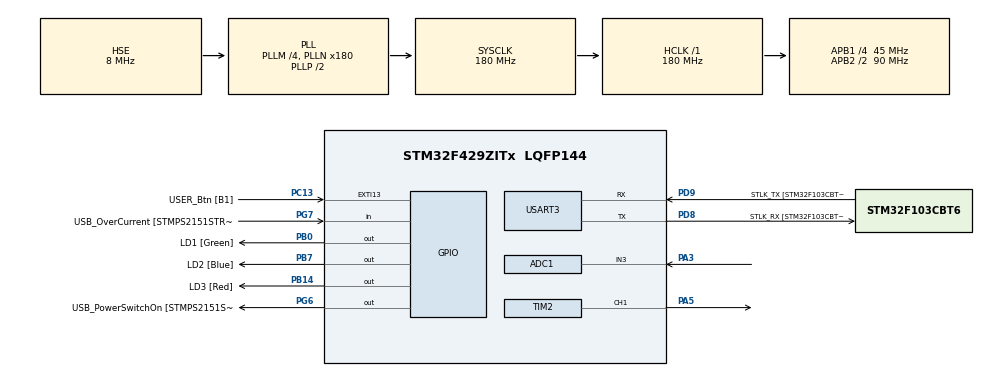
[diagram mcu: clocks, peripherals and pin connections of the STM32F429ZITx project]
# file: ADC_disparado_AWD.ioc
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ADC1.Channel-1\#ChannelRegularConversion=ADC_CHANNEL_3
ADC1.ClockPrescaler=ADC_CLOCK_SYNC_PCLK_DIV4
ADC1.ContinuousConvMode=DISABLE
ADC1.DMAContinuousRequests=ENABLE
ADC1.EOCSelection=ADC_EOC_SEQ_CONV
ADC1.EnableAnalogWatchDog=true
ADC1.ExternalTrigConv=ADC_EXTERNALTRIGCONV_T3_TRGO
ADC1.HighThreshold=4095
ADC1.ITMode=ENABLE
ADC1.InjNumberOfConversion=0
ADC1.LowThreshold=1330
ADC1.NbrOfConversion=1
ADC1.NbrOfConversionFlag=1
ADC1.Rank-1\#ChannelRegularConversion=1
ADC1.SamplingTime-1\#ChannelRegularConversion=ADC_SAMPLETIME_3CYCLES
ADC1.WatchdogChannel=ADC_CHANNEL_3
ADC1.master=1
Dma.ADC1.0.Direction=DMA_PERIPH_TO_MEMORY
Dma.ADC1.0.FIFOMode=DMA_FIFOMODE_DISABLE
Dma.ADC1.0.Instance=DMA2_Stream0
Dma.ADC1.0.MemDataAlignment=DMA_MDATAALIGN_HALFWORD
Dma.ADC1.0.MemInc=DMA_MINC_ENABLE
Dma.ADC1.0.Mode=DMA_NORMAL
Dma.ADC1.0.PeriphDataAlignment=DMA_PDATAALIGN_HALFWORD
Dma.ADC1.0.PeriphInc=DMA_PINC_DISABLE
Dma.ADC1.0.Priority=DMA_PRIORITY_VERY_HIGH
Dma.Request0=ADC1
Mcu.Family=STM32F4
Mcu.Name=STM32F429ZITx
Mcu.Package=LQFP144
NVIC.ADC_IRQn=true\:0\:0\:false\:false\:true\:true\:true\:true
NVIC.DMA2_Stream0_IRQn=true\:0\:0\:false\:false\:true\:false\:true\:true
NVIC.PriorityGroup=NVIC_PRIORITYGROUP_4
PA1.GPIO_Label=RMII_REF_CLK [LAN8742A-CZ-TR_REFCLK0]
PA1.Signal=ETH_REF_CLK
PA10.GPIO_Label=USB_ID
PA10.Signal=USB_OTG_FS_ID
PA11.GPIO_Label=USB_DM
PA11.Signal=USB_OTG_FS_DM
PA12.GPIO_Label=USB_DP
PA12.Signal=USB_OTG_FS_DP
PA13.GPIO_Label=TMS
PA13.Mode=Serial_Wire
PA13.Signal=SYS_JTMS-SWDIO
PA14.GPIO_Label=TCK
PA14.Mode=Serial_Wire
PA14.Signal=SYS_JTCK-SWCLK
PA2.GPIO_Label=RMII_MDIO [LAN8742A-CZ-TR_MDIO]
PA2.Signal=ETH_MDIO
PA3.Signal=ADCx_IN3
PA5.Signal=S_TIM2_CH1_ETR
PA7.GPIO_Label=RMII_CRS_DV [LAN8742A-CZ-TR_CRS_DV]
PA7.Signal=ETH_CRS_DV
PA8.GPIO_Label=USB_SOF [TP1]
PA8.Signal=USB_OTG_FS_SOF
PA9.GPIO_Label=USB_VBUS
PA9.Signal=USB_OTG_FS_VBUS
PB0.GPIO_Label=LD1 [Green]
PB0.Signal=GPIO_Output
PB13.GPIO_Label=RMII_TXD1 [LAN8742A-CZ-TR_TXD1]
PB13.Signal=ETH_TXD1
PB14.GPIO_Label=LD3 [Red]
PB14.Signal=GPIO_Output
PB7.GPIO_Label=LD2 [Blue]
PB7.Signal=GPIO_Output
PC1.GPIO_Label=RMII_MDC [LAN8742A-CZ-TR_MDC]
PC1.Signal=ETH_MDC
PC13.GPIO_Label=USER_Btn [B1]
PC13.Signal=GPXTI13
PC14/OSC32_IN.Mode=LSE-External-Oscillator
PC14/OSC32_IN.Signal=RCC_OSC32_IN
PC15/OSC32_OUT.Mode=LSE-External-Oscillator
PC15/OSC32_OUT.Signal=RCC_OSC32_OUT
PC4.GPIO_Label=RMII_RXD0 [LAN8742A-CZ-TR_RXD0]
PC4.Signal=ETH_RXD0
PC5.GPIO_Label=RMII_RXD1 [LAN8742A-CZ-TR_RXD1]
PC5.Signal=ETH_RXD1
PD8.GPIO_Label=STLK_RX [STM32F103CBT6_PA3]
PD8.Mode=Asynchronous
PD8.Signal=USART3_TX
PD9.GPIO_Label=STLK_TX [STM32F103CBT6_PA2]
PD9.Mode=Asynchronous
PD9.Signal=USART3_RX
PG11.GPIO_Label=RMII_TX_EN [LAN8742A-CZ-TR_TXEN]
PG11.Signal=ETH_TX_EN
PG13.GPIO_Label=RMII_TXD0 [LAN8742A-CZ-TR_TXD0]
PG13.Signal=ETH_TXD0
PG6.GPIO_Label=USB_PowerSwitchOn [STMPS2151STR_EN]
PG6.Signal=GPIO_Output
PG7.GPIO_Label=USB_OverCurrent [STMPS2151STR_FAULT]
PG7.Signal=GPIO_Input
PH0/OSC_IN.GPIO_Label=MCO [STM32F103CBT6_PA8]
PH0/OSC_IN.Mode=HSE-External-Oscillator
PH0/OSC_IN.Signal=RCC_OSC_IN
PH1/OSC_OUT.Mode=HSE-External-Oscillator
PH1/OSC_OUT.Signal=RCC_OSC_OUT
ProjectManager.HeapSize=0x200
ProjectManager.StackSize=0x400
ProjectManager.TargetToolchain=STM32CubeIDE
RCC.48MHZClocksFreq_Value=51428571.428571425
RCC.AHBFreq_Value=180000000
RCC.APB1CLKDivider=RCC_HCLK_DIV4
RCC.APB1Freq_Value=45000000
RCC.APB1TimFreq_Value=90000000
RCC.APB2CLKDivider=RCC_HCLK_DIV2
RCC.APB2Freq_Value=90000000
RCC.APB2TimCLKDivider=2
RCC.APB2TimFreq_Value=180000000
RCC.CortexFreq_Value=180000000
RCC.HCLKFreq_Value=180000000
RCC.HSE_VALUE=8000000
RCC.HSI_VALUE=16000000
RCC.PLLM=4
RCC.PLLMUL=RCC_PLL_MUL9
RCC.PLLN=180
RCC.PLLQ=7
RCC.PLLSourceVirtual=RCC_PLLSOURCE_HSE
RCC.PRESCALERUSB=RCC_USBCLKSOURCE_PLL_DIV1_5
RCC.SYSCLKFreq_VALUE=180000000
RCC.SYSCLKSource=RCC_SYSCLKSOURCE_PLLCLK
RCC.SYSCLKSourceVirtual=RCC_SYSCLKSOURCE_PLLCLK
RCC.USBFreq_Value=48000000
RCC.VCOOutputFreq_Value=360000000
SH.ADCx_IN3.0=ADC1_IN3,IN3
SH.S_TIM2_CH1_ETR.0=TIM2_CH1,PWM Generation1 CH1
TIM2.AutoReloadPreload=TIM_AUTORELOAD_PRELOAD_ENABLE
TIM2.Channel-PWM\ Generation1\ CH1=TIM_CHANNEL_1
TIM2.Period=65535
TIM2.Prescaler=1
TIM3.AutoReloadPreload=TIM_AUTORELOAD_PRELOAD_ENABLE
TIM3.Period=149
TIM3.Prescaler=29
TIM3.TIM_MasterOutputTrigger=TIM_TRGO_UPDATE
USART3.VirtualMode=VM_ASYNC
VP_TIM2_VS_ClockSourceINT.Mode=Internal
VP_TIM3_VS_ClockSourceINT.Mode=Internal
board=NUCLEO-F429ZI

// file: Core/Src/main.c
/* USER CODE BEGIN Header */
/**
  ******************************************************************************
  * @file           : main.c
  * @brief          : Ejemplo de ADC con Analog Watch Dog (AWD)
  *                   (No veo diferencia entre continuo y único)
  ******************************************************************************
  *
  * El ejemplo se desarrolló en base a:
  * https://deepbluembedded.com/stm32-adc-read-example-dma-interrupt-polling/
  *
  ******************************************************************************
  */
/* USER CODE END Header */
#include "main.h"
#include "adc.h"
#include "dma.h"
#include "tim.h"
#include "usart.h"
#include "gpio.h"

/* USER CODE BEGIN Includes */
#include "uOSAL.h"

/* USER CODE END Includes */

/* USER CODE BEGIN PM */
#define DELTA      100
#define MUESTRAS   100
#define COLUMNAS   20
#define NIVEL      1600
#define N_CAPTURAS 16

/* USER CODE END PM */

/* USER CODE BEGIN PV */
uint16_t ADC_CONVERTIDO [MUESTRAS]   = {0}; //0;
uint32_t ADC_SUMA [2*MUESTRAS] = {0};
uint16_t ADC_CANTIDAD   [2*MUESTRAS] = {0};
uint32_t PROMEDIO = 0;
volatile uint32_t Num_Conversiones = 0;
bool     Escribimos = false;
bool     Nueva_Lectura = false;

/* USER CODE END PV */

void SystemClock_Config(void);
/* USER CODE BEGIN PFP */
void EscribirDatos(uint32_t);
void PromediarConDisparo(void);
/* USER CODE END PFP */

int main(void)
{

  /* MCU Configuration--------------------------------------------------------*/

  /* Reset of all peripherals, Initializes the Flash interface and the Systick. */
  HAL_Init();

  /* Configure the system clock */
  SystemClock_Config();

  /* Initialize all configured peripherals */
  MX_GPIO_Init();
  MX_DMA_Init();
  MX_USART3_UART_Init();
  MX_ADC1_Init();
  MX_TIM2_Init();
  MX_TIM3_Init();
  /* USER CODE BEGIN 2 */
  //-----------------------------------------------------------------------------------------------
  uint32_t Tiempo_ms = 0;
  uartInit();

  GPIO_InitTypeDef  GPIO_InitStruct;
  GPIO_InitStruct.Pin = GPIO_PIN_0;
  GPIO_InitStruct.Mode = GPIO_MODE_OUTPUT_PP;
  GPIO_InitStruct.Pull = GPIO_NOPULL;
  GPIO_InitStruct.Speed = GPIO_SPEED_FAST;
  HAL_GPIO_Init(GPIOA, &GPIO_InitStruct);

  GPIO_InitStruct.Pin = GPIO_PIN_0 | GPIO_PIN_7 | GPIO_PIN_14; // ;
  HAL_GPIO_Init(GPIOB, &GPIO_InitStruct);

  uEscribirTexto ("\n\r-----------------------------------------------------------------------------");
  uEscribirTexto ("\n\rADC disparado por trigger con DMA (marzo 2024)");
  uEscribirTexto ("\n\r-----------------------------------------------------------------------------");

  HAL_TIM_PWM_Start(&htim2, TIM_CHANNEL_1);
  HAL_TIM_Base_Start(&htim3); // Start Timer3 (Trigger Source For ADC1)
  //HAL_ADC_Start_IT(&hadc1);   // Start ADC Conversion

  Tiempo_ms = uOSALmiliseg ();
  HAL_ADC_Start_DMA(&hadc1, (uint32_t *) ADC_CONVERTIDO, MUESTRAS);  // Inicia la conversión continua del ADC

  //-----------------------------------------------------------------------------------------------
  /* USER CODE END 2 */

  /* Infinite loop */
  while (1)
  {

    /* USER CODE BEGIN 3 */
	//---------------------------------------------------------------------------------------------
	//TIM2->CCR1 = (AD_RES<<4); // Update The PWM Duty Cycle With Latest ADC Conversion Result

	if (Nueva_Lectura) {
		Nueva_Lectura = false;
		PROMEDIO = 0;
		for (int j=0; j<MUESTRAS; j++) {
					PROMEDIO += ADC_CONVERTIDO[j];
		}
		PROMEDIO = PROMEDIO / MUESTRAS;
		TIM2->CCR1 = ( (PROMEDIO & 0xFFFF) <<4 );
		PromediarConDisparo();

		//HAL_GPIO_TogglePin(GPIOB, GPIO_PIN_0 | GPIO_PIN_7 | GPIO_PIN_14);
		HAL_GPIO_TogglePin(GPIOB, GPIO_PIN_14); // led rojo que titila
		HAL_GPIO_WritePin(GPIOB, GPIO_PIN_0, GPIO_PIN_RESET); // led rojo que titila

		//HAL_Delay(10);
		if ( Num_Conversiones <  N_CAPTURAS ) HAL_ADC_Start_DMA(&hadc1, (uint32_t *) ADC_CONVERTIDO, MUESTRAS);
		if ( Num_Conversiones == N_CAPTURAS ) {
			Tiempo_ms = uOSALmiliseg () - Tiempo_ms;
			EscribirDatos(Num_Conversiones);
		    uEscribirTextoEnteroSS ("Tardamos ", Tiempo_ms);
		}

	}
  }
  //-----------------------------------------------------------------------------------------------
  /* USER CODE END 3 */
}

void SystemClock_Config(void)
{
  RCC_OscInitTypeDef RCC_OscInitStruct = {0};
  RCC_ClkInitTypeDef RCC_ClkInitStruct = {0};

  /** Configure the main internal regulator output voltage
  */
  __HAL_RCC_PWR_CLK_ENABLE();
  __HAL_PWR_VOLTAGESCALING_CONFIG(PWR_REGULATOR_VOLTAGE_SCALE1);

  /** Initializes the RCC Oscillators according to the specified parameters
  * in the RCC_OscInitTypeDef structure.
  */
  RCC_OscInitStruct.OscillatorType = RCC_OSCILLATORTYPE_HSE;
  RCC_OscInitStruct.HSEState = RCC_HSE_ON;
  RCC_OscInitStruct.PLL.PLLState = RCC_PLL_ON;
  RCC_OscInitStruct.PLL.PLLSource = RCC_PLLSOURCE_HSE;
  RCC_OscInitStruct.PLL.PLLM = 4;
  RCC_OscInitStruct.PLL.PLLN = 180;
  RCC_OscInitStruct.PLL.PLLP = RCC_PLLP_DIV2;
  RCC_OscInitStruct.PLL.PLLQ = 7;
  if (HAL_RCC_OscConfig(&RCC_OscInitStruct) != HAL_OK)
  {
    Error_Handler();
  }

  /** Activate the Over-Drive mode
  */
  if (HAL_PWREx_EnableOverDrive() != HAL_OK)
  {
    Error_Handler();
  }

  /** Initializes the CPU, AHB and APB buses clocks
  */
  RCC_ClkInitStruct.ClockType = RCC_CLOCKTYPE_HCLK|RCC_CLOCKTYPE_SYSCLK
                              |RCC_CLOCKTYPE_PCLK1|RCC_CLOCKTYPE_PCLK2;
  RCC_ClkInitStruct.SYSCLKSource = RCC_SYSCLKSOURCE_PLLCLK;
  RCC_ClkInitStruct.AHBCLKDivider = RCC_SYSCLK_DIV1;
  RCC_ClkInitStruct.APB1CLKDivider = RCC_HCLK_DIV4;
  RCC_ClkInitStruct.APB2CLKDivider = RCC_HCLK_DIV2;

  if (HAL_RCC_ClockConfig(&RCC_ClkInitStruct, FLASH_LATENCY_5) != HAL_OK)
  {
    Error_Handler();
  }
}

/* USER CODE BEGIN 4 */

void HAL_ADC_ConvCpltCallback(ADC_HandleTypeDef* hadc)
{
	HAL_GPIO_WritePin(GPIOA, GPIO_PIN_0, GPIO_PIN_RESET);
	Num_Conversiones++;
	Nueva_Lectura = true;

	//HAL_GPIO_TogglePin(GPIOA, GPIO_PIN_0);
	//AD_RES = HAL_ADC_GetValue(&hadc1);
	// for (int i=0; i< 0x6FF; i++) { 		}
	//HAL_GPIO_WritePin(GPIOA, GPIO_PIN_0, GPIO_PIN_RESET);
}

void HAL_ADC_ConvHalfCpltCallback(ADC_HandleTypeDef* hadc)
{
	HAL_GPIO_WritePin(GPIOA, GPIO_PIN_0, GPIO_PIN_SET);
}

void HAL_ADC_LevelOutOfWindowCallback(ADC_HandleTypeDef* hadc)
{
	static uint32_t contando = 0;
	contando++;
	//HAL_GPIO_WritePin(GPIOB, GPIO_PIN_0, GPIO_PIN_SET);
	if ( contando & 0x0700 ) HAL_GPIO_TogglePin(GPIOB, GPIO_PIN_0);
}

void PromediarConDisparo(void)
{
	bool bajo=true;
	if (ADC_CONVERTIDO[0] > NIVEL) bajo = false;

	for (int disparo=0; disparo<MUESTRAS; disparo++) {

		// supondremos por ahora siempre flanco de subida
	    if ( bajo && (ADC_CONVERTIDO[disparo] >= NIVEL) ) {
	    	// hubo disparo!!!
	    	for (int i=0; i<MUESTRAS; i++) {

	    		ADC_SUMA     [MUESTRAS+i-disparo] = ( ADC_SUMA [MUESTRAS+i-disparo] + ADC_CONVERTIDO[i] );
				ADC_CANTIDAD [MUESTRAS+i-disparo] ++;

	    	}
	    	disparo = MUESTRAS;
	    }

	    // Esto es por si empezó alto
	    if (ADC_CONVERTIDO[disparo] <= NIVEL) bajo = true;
	}
}

void EscribirDatos(uint32_t Actual)
{
	//static uint32_t Anterior = 0;
	uEscribirTextoEnteroSS ("\n\r============================================================\n\rLectura # ", Actual);
	//uEscribirTextoEnteroSS (" (Frecuencia de Muestreo = ", (Actual-Anterior) * MUESTRAS / DELTA);
	//uEscribirTexto (" kHz)\n\r");
	uEscribirTexto (" \n\r");

	int j=0;
	for (int i=0; i<MUESTRAS; i++) {
		if (j>=COLUMNAS) {
			uEscribirTexto ("\n\r");
			j=0;
		}
		uEscribirEnteroSS ( ADC_CONVERTIDO[i] & 0xFFFF );
		uEscribirTexto ("; ");
		j++;
	}
	uEscribirTexto (" \n\r------------------------------------------------------------\n\r");

	j=0;
	for (int i=0; i<MUESTRAS*2; i++) {
		if (j>=COLUMNAS) {
			uEscribirTexto ("\n\r");
			j=0;
		}
		if (ADC_CANTIDAD[i] > 0) {
			uEscribirEnteroSS ( ADC_SUMA[i] / ADC_CANTIDAD[i] );
			uEscribirTexto ("; ");
		} else {
			uEscribirTexto ("-; ");
		}
		j++;
	}
	uEscribirTexto (" \n\r------------------------------------------------------------\n\r");

	j=0;
	for (int i=0; i<MUESTRAS*2; i++) {
		if (j>=COLUMNAS) {
			uEscribirTexto ("\n\r");
			j=0;
		}
		uEscribirEnteroSS ( ADC_CANTIDAD[i] );
		uEscribirTexto ("; ");
		j++;
	}

	uEscribirTextoEnteroSS ("\n\rPromedio = ", PROMEDIO);
	uEscribirTexto (" \n\r------------------------------------------------------------\n\r");
	//Anterior = Actual;
}

/* USER CODE END 4 */

void Error_Handler(void)
{
  __disable_irq();
  while (1)
  {
  }
}
